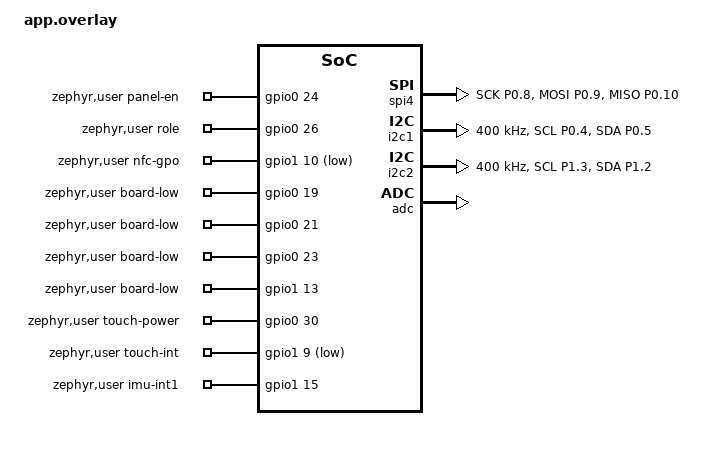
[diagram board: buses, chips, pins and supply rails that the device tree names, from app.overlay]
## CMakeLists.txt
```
cmake_minimum_required(VERSION 3.20.0)
find_package(Zephyr REQUIRED HINTS $ENV{ZEPHYR_BASE})
project(g1v0)
# The VM core (protocol 5) is compiled in place from the ScouterKit tree, never copied.
file(REAL_PATH ${CMAKE_CURRENT_SOURCE_DIR} G1_APP_DIR)
get_filename_component(G1_SK_DIR ${G1_APP_DIR}/../.. ABSOLUTE)
set(G1_VM_DIR ${G1_SK_DIR}/src/vm)
target_sources(app PRIVATE
	src/early.S src/retained.c src/health.c src/board.c src/netcore.c
	src/pmic.c src/power.c src/imu.c src/diag.c src/caselink.c src/panel.c src/exec.c src/proto.c src/netfallback.c src/netimg.S src/main.c
	src/mic.c src/touch.c src/touchcfg.S src/light.c src/peer.c src/idle.c src/guard.c src/assets.c src/bonds.c
	${G1_VM_DIR}/vm.c ${G1_VM_DIR}/vm_gfx.c)
target_include_directories(app PRIVATE ${G1_VM_DIR})
# DIAG BONDS reads the host's struct bt_keys (aging counter, key flags): its internal header, for this file only.
set_source_files_properties(src/bonds.c PROPERTIES INCLUDE_DIRECTORIES ${ZEPHYR_BASE}/subsys/bluetooth/host)
# The interpreter runs every host packet and program instruction: -O2 instead of the image's -Os.
set_source_files_properties(${G1_VM_DIR}/vm.c ${G1_VM_DIR}/vm_gfx.c PROPERTIES COMPILE_OPTIONS "-O2")
# liblc3 (Apache-2.0, vendored with its licence): the LC3 encoder of the microphone, 10 ms frames only.
set(G1_LC3_DIR ${G1_SK_DIR}/third_party/liblc3)
file(GLOB G1_LC3_SRC ${G1_LC3_DIR}/src/*.c)
target_sources(app PRIVATE ${G1_LC3_SRC})
target_include_directories(app PRIVATE ${G1_LC3_DIR}/include)
set_source_files_properties(${G1_LC3_SRC} PROPERTIES
	COMPILE_OPTIONS "-std=c11;-O3;-ffast-math;-Wno-unused-parameter;-Wno-double-promotion"
	COMPILE_DEFINITIONS "LC3_PLUS=0;LC3_PLUS_HR=0")
# The first instructions after reset go through early.S (WDT0 handling), then into Zephyr.
zephyr_ld_options(-Wl,--wrap=z_arm_reset)
# Even's net-core image embedded for the self-fallback (src/netimg.S, src/netfallback.c), fetched by
# scripts/fetch_stock.sh 1.6.6 into the work directory; never part of this tree.
set(G1_NET_IMAGE $ENV{G1_WORK}/firmware/1.6.6/net_core_app_update.bin CACHE FILEPATH "net image for the self-fallback")
if(NOT EXISTS ${G1_NET_IMAGE})
	message(FATAL_ERROR "${G1_NET_IMAGE} not found: run scripts/fetch_stock.sh 1.6.6")
endif()
set(G1_NET_IMAGE_NAME 1.6.6 CACHE STRING "version label of G1_NET_IMAGE")
set_source_files_properties(src/netimg.S PROPERTIES
	COMPILE_DEFINITIONS "G1_NET_IMAGE_PATH=\"${G1_NET_IMAGE}\"" OBJECT_DEPENDS ${G1_NET_IMAGE})
set_source_files_properties(src/netfallback.c PROPERTIES
	COMPILE_DEFINITIONS "G1_NET_IMAGE_NAME=\"${G1_NET_IMAGE_NAME}\"")
# The TouchBar controller's configuration table, as stock loads it (src/touchcfg.S, src/touch.c), taken from
# Even's 1.6.6 image by scripts/fetch_stock.sh 1.6.6 into the work directory; never part of this tree.
set(G1_TOUCH_TABLE $ENV{G1_WORK}/fw/1.6.6_aw9320x_table.bin CACHE FILEPATH "TouchBar controller table")
if(NOT EXISTS ${G1_TOUCH_TABLE})
	message(FATAL_ERROR "${G1_TOUCH_TABLE} not found: run scripts/fetch_stock.sh 1.6.6")
endif()
set_source_files_properties(src/touchcfg.S PROPERTIES
	COMPILE_DEFINITIONS "G1_TOUCH_TABLE_PATH=\"${G1_TOUCH_TABLE}\"" OBJECT_DEPENDS ${G1_TOUCH_TABLE})
```

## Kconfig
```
config G1_FAULT_INJECTION
	bool "Accept the FAULT control request (test builds only)"
	default y

config G1_WDT0_CRV
	int "nRF WDT0 reload value when this image starts it (32768 = 1 s)"
	default 3932160
	help
	  120 s. WDT0 keeps running through the soft reset into MCUboot and nothing may feed it during
	  an install (the genuine MCUboot's feeding is unverified), so it must outlast the whole install:
	  DK (D1) stock 976 KB 36.8 s; arm worst case ~44 s (240 pages x 89.7 ms erase, slower genuine
	  QSPI reads), ~56 s with a PCD net update in the same pass. The health thread feeds WDT0 every
	  0.5 s and reboots by itself on a thread hang (< 5 s), so only a total hang waits for WDT0;
	  with the nPM1300 watchdog armed (30 s, power cycle) that one comes first. A running WDT0
	  keeps its CRV until a watchdog, pin or power-on reset.

config G1_NET_ESB_QUIET
	bool "Tell the stock net core to quiesce its arm-to-arm ESB link (work mode 1, as stock's DFU mode)"
	default n
	help
	  Off since 0.5.0 (power.md §5, ESB mode): with work mode 1 on both arms the right arm (ESB master) missed most
	  BLE connection events under traffic (in the case, 0.4–1.4 KB/s and a link loss every 5–15 s, reason
	  0x28 Instant Passed), across power cycles; mode 0 on both arms gave 12–13 KB/s with no loss. Mode 0
	  as stock: both arms must run the same mode (an arm in mode 0 whose partner is quiet loses its links).

config G1_NET_FALLBACK_BOOTS
	int "Reflash the net core after this many consecutive boots without Bluetooth (M)"
	default 3

config G1_NET_FALLBACK_TIMEOUT_S
	int "A boot without Bluetooth after this many seconds reboots and counts as failed (N)"
	default 30

config G1_REQUIRE_SECURITY
	bool "Out of the case, require an encrypted, bonded link for every write (CMD, CTRL, SMP)"
	default y

config G1_PAIRING_WINDOW_S
	int "Seconds after boot during which a new bond may be created out of the case"
	default 0
	help
	  0 on the arm: bondable only in the case (VBUS), per the user's rule. The nRF5340 DK build
	  sets 120, since a bare DK has no PMIC and so is never "in the case".

config G1_CASE_LINK
	bool "Answer the charging case's requests over the ST25DV mailbox as stock (battery status: charging, full)"
	default y if !G1_NO_PANEL
	help
	  Without the reply the case never learns that the battery is full and keeps its NFC power transfer
	  on (power.md). Needs the ST25DV on TWIM1 and its GPO on P1.10 (the arm; the DK has neither).

config G1_IN_CASE_HOLD_S
	int "IN_CASE stays 1 this many seconds after the last VBUS sample, tag field or case message, unless the arm moved"
	default 400
	help
	  VM.md §2.5: a full case re-checks an arm about every 300 s. The emulator test build uses less.

config G1_PANEL_IDLE_S
	int "With no host connected and no running program, the panel goes off this many seconds after the last DRAW"
	default 30
	help
	  VM.md §6.6. The emulator test build uses a few seconds: its emulated net core stalls when the arm
	  advertises much longer (emulator.md §10.15).

config G1_PANEL_BUDGET_MA
	int "The panel guard's discharge budget, mA: above it the panel's level is capped"
	range 80 150
	default 100
	help
	  VM.md §6.6: while the panel is on and the arm runs on its battery, the mean IBAT (the whole arm's) above
	  this lowers BRIGHTNESS_CAP. 100 (1.25 C of the 80 mAh cell) since the acceptance run of 2026-11-04: at 120 the
	  right arm's pack rose 6.7 °C in 12 min of white (docs/review-dimming.md points 9 and 14, docs/power.md §17).

config G1_GUARD_BURST_MS
	int "While the panel is on, each PMIC round's 16 VBAT+IBAT conversions span at least this many ms"
	range 40 200
	default 40
	help
	  VM.md §6.6: the panel's current is pulsed; the burst covers at least two pulse periods (docs/power.md §17).

config G1_MIC_ANY_LINK
	bool "Emulator test build: MIC on an unencrypted link; never on an arm"
	default n
	help
	  VM.md §6.5: MIC needs an encrypted link, in the case too. The emulator's virtual central cannot
	  pair, so its test build sets this to exercise the capture, the indicator and the stop rules.

config G1_MIC_128MHZ
	bool "Run the app core at 128 MHz while the microphone captures"
	default n
	help
	  The LC3 encoder takes ~160k cycles per 10 ms frame: 25 % of the 64 MHz core, 12.5 % at 128 MHz.
	  Off as the codec review decided (docs/audio-codec.md: a cycle costs ~10 % more energy at 128 MHz, and
	  the encoder thread starves nothing at 64 MHz); test builds can switch it with DIAG SET 5.

config G1_IMU_BASE_DEFAULT
	int "Stock's IMU pitch base (centidegrees) for an arm whose settings record has none (0)"
	default -1987
	help
	  The head frame's tilt against the arm's board (imu.c). Stock's factory test stored it on the right
	  arm only (+0x0C of the settings record; -1987 on the development unit) and left the left arm's at 0,
	  stock's "no base": the glasses are rigid, so the left arm uses this value, until a worn calibration.

config G1_NO_PANEL
	bool "Board without a panel (the nRF5340 DK build); reported in HELLO and the pair record"
	default n

config G1_DK_NCS_NET
	bool "DK bench: the net core runs NCS's hci_rpmsg (no stock handshake, no ESB)"
	depends on G1_NO_PANEL
	default n

source "Kconfig.zephyr"
```

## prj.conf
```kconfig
# g1v0: scouter firmware for the G1 app core, protocol 5 (scouter_kit/g1_firmware/docs/VM.md).
CONFIG_BOOTLOADER_MCUBOOT=y
CONFIG_MCUBOOT_IMGTOOL_SIGN_VERSION="0.5.28+0"
CONFIG_UPDATEABLE_IMAGE_NUMBER=2
CONFIG_NRF53_UPGRADE_NETWORK_CORE=y
CONFIG_ADD_MCUBOOT_MEDIATE_SIM_FLASH_DTS=y

CONFIG_BT=y
CONFIG_BT_PERIPHERAL=y
CONFIG_BT_DEVICE_NAME="G1v0"
CONFIG_BT_DEVICE_NAME_DYNAMIC=y
CONFIG_BT_MAX_CONN=1
CONFIG_BT_USER_PHY_UPDATE=y
CONFIG_BT_USER_DATA_LEN_UPDATE=y
CONFIG_BT_GAP_AUTO_UPDATE_CONN_PARAMS=n
CONFIG_BT_L2CAP_TX_MTU=247
CONFIG_BT_BUF_ACL_RX_SIZE=251
CONFIG_BT_BUF_ACL_TX_SIZE=251
CONFIG_BT_BUF_ACL_RX_COUNT=16
CONFIG_BT_BUF_ACL_TX_COUNT=8
CONFIG_BT_L2CAP_TX_BUF_COUNT=8
CONFIG_BT_CONN_TX_MAX=8
CONFIG_BT_RX_STACK_SIZE=2048

CONFIG_NCS_SAMPLE_MCUMGR_BT_OTA_DFU=y
CONFIG_MCUMGR_GRP_OS_ECHO=y
CONFIG_MCUMGR_TRANSPORT_BT_CONN_PARAM_CONTROL=n
CONFIG_MCUMGR_MGMT_NOTIFICATION_HOOKS=y
CONFIG_MCUMGR_GRP_OS_RESET_HOOK=y
# The OTA sample turns on the zephyr-basic group with NVS settings: its only command erases the settings
# partition (every bond). Nothing uses it (flash.py, the asset store): off (0.5.58).
CONFIG_MCUMGR_GRP_ZBASIC=n

CONFIG_IPC_SERVICE=y
CONFIG_IPC_SERVICE_BACKEND_RPMSG_NUM_ENDPOINTS_PER_INSTANCE=2

# Hardware floating point: the LC3 encoder of the microphone (mic.c) and the IMU's angles.
CONFIG_FPU=y
CONFIG_FPU_SHARING=y

# Device power management only for the idle bisect's TWIM2 switch (idle.c, test builds); nothing suspends a device
# by itself (no CONFIG_PM).
CONFIG_PM_DEVICE=y
CONFIG_GPIO=y
CONFIG_I2C=y
CONFIG_ADC=y
# Panel SPIM4 is driven by panel.c directly (32 MHz, as stock), not by the Zephyr SPI driver.
CONFIG_SPI=n
CONFIG_FLASH=y
# The asset store's put verifies its read-back with SHA-256 (assets.c).
CONFIG_TINYCRYPT=y
CONFIG_TINYCRYPT_SHA256=y
CONFIG_CRC=y
CONFIG_REBOOT=y
CONFIG_ENTROPY_GENERATOR=y

CONFIG_LOG=y
CONFIG_LOG_MODE_DEFERRED=y
CONFIG_LOG_BUFFER_SIZE=4096
CONFIG_LOG_PROCESS_THREAD_SLEEP_MS=1000
CONFIG_PRINTK=y
# The console UART has no receiver (app.overlay disable-rx): Zephyr's UARTE driver then runs it in
# low-power mode, off between transmissions; an enabled receiver kept the HF clock running for good.
CONFIG_MAIN_STACK_SIZE=4096
CONFIG_SYSTEM_WORKQUEUE_STACK_SIZE=2048
CONFIG_RESET_ON_FATAL_ERROR=n
CONFIG_THREAD_NAME=y
# CPU load for the POWER telemetry (idle vs busy cycles)
CONFIG_THREAD_RUNTIME_STATS=y
CONFIG_SCHED_THREAD_USAGE=y
CONFIG_SCHED_THREAD_USAGE_ALL=y
CONFIG_MCUMGR_SMP_COMMAND_STATUS_HOOKS=y

# Security (docs/protocol.md §: bonding mirrors stock). LE Secure Connections, Just Works
# (NoInputNoOutput), bonds in the settings partition. The write gate is enforced in the handlers
# (in-case VBUS bypasses it), so the GATT permissions stay plain.
CONFIG_BT_SMP=y
CONFIG_BT_SMP_SC_PAIR_ONLY=y
CONFIG_BT_BONDABLE=y
# Pairing must create a bond (a pairing request without the bonding flag is rejected), so an
# encrypted link out of the case always means a bonded peer.
CONFIG_BT_BONDING_REQUIRED=y
CONFIG_BT_MAX_PAIRED=3
# A new bond (only possible in the case) replaces the oldest one when all 3 are used; otherwise no new
# host could ever bond (g1v0 has no unpair command).
CONFIG_BT_KEYS_OVERWRITE_OLDEST=y
# Store a bond's aging counter whenever another bond becomes the most recently used (each change of host),
# so "oldest" means least recently used across reboots too, not only within one boot (0.5.58).
CONFIG_BT_KEYS_SAVE_AGING_COUNTER_ON_PAIRING=y
# A host that lost its bond may pair again (in the case) over the arm's old Just Works bond for its
# address; Zephyr refuses that by default. Out of the case pairing is still refused (not bondable).
CONFIG_BT_SMP_ALLOW_UNAUTH_OVERWRITE=y
CONFIG_BT_SETTINGS=y
CONFIG_SETTINGS=y
CONFIG_NVS=y
CONFIG_FLASH_MAP=y
```

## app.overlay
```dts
/* G1 arm board on top of the nRF5340 DK board files (whose SoC, IPC, net-core release, DC/DC and LFXO
 * settings match what stock writes: emulator traces runs/aud-stock*, docs/arm-rollout.md §10).
 * Everything else the DK board defines is removed or disabled here, so g1v0 configures only pins the
 * stock firmware configures on the G1 (stock pin map: runs/aud-stock, g1-fw docs/g1-pin-map-dump.md):
 *   panel SPIM4: P0.08 SCK, P0.09 MOSI, P0.10 MISO, CS P0.11 by GPIO (panel.c drives SPIM4 itself,
 *     no Zephyr SPI driver); nPM1300 (0x6B) and ST25DV (0x53/0x57) on TWIM1: P0.04 SCL, P0.05 SDA;
 *   LSM6DSO (0x6B) on TWIM2: P1.03 SCL, P1.02 SDA;
 *   QSPI NOR (MX25U, 32 MiB): P0.13-P0.18; console UART0: TX P0.20, RX P0.22 (no RTS/CTS, as stock);
 *   GPIO: P0.24 panel -2 V enable, P0.26 role strap (input), P0.19/P0.21/P0.23 low and P0.30 high = the
 *     TouchBar controller's rail (stock button_init), P1.13 low (stock's idle PDM clock); P1.00/P1.01 to
 *     the net core (as stock);
 *   P0.00/P0.01 LFXO (SoC). */
/ {
	chosen {
		nordic,pm-ext-flash = &mx25r64;
	};
	zephyr,user {
		panel-en-gpios = <&gpio0 24 GPIO_ACTIVE_HIGH>;
		role-gpios = <&gpio0 26 GPIO_ACTIVE_HIGH>;
		/* ST25DV GPO (open drain, active low; stock: nfc_gpo_init pin 10, PIN_CNF input + pull-up) */
		nfc-gpo-gpios = <&gpio1 10 (GPIO_ACTIVE_LOW | GPIO_PULL_UP)>;
		board-low-gpios = <&gpio0 19 GPIO_ACTIVE_HIGH>, <&gpio0 21 GPIO_ACTIVE_HIGH>,
				  <&gpio0 23 GPIO_ACTIVE_HIGH>, <&gpio1 13 GPIO_ACTIVE_HIGH>;
		touch-power-gpios = <&gpio0 30 GPIO_ACTIVE_HIGH>;
		/* the TouchBar controller's interrupt (stock: P1.09, active low, pull-up) */
		touch-int-gpios = <&gpio1 9 (GPIO_ACTIVE_LOW | GPIO_PULL_UP)>;
		/* LSM6DSO INT1 (push-pull, active high as reset); INT2 is P1.04 (DIAG PIN_PROBE, 0.5.2) */
		imu-int1-gpios = <&gpio1 15 GPIO_ACTIVE_HIGH>;
	};
	aliases {
		/delete-property/ led0;
		/delete-property/ led1;
		/delete-property/ led2;
		/delete-property/ led3;
		/delete-property/ pwm-led0;
		/delete-property/ sw0;
		/delete-property/ sw1;
		/delete-property/ sw2;
		/delete-property/ sw3;
		/delete-property/ bootloader-led0;
		/delete-property/ mcuboot-button0;
		/delete-property/ mcuboot-led0;
	};
	/* DK LEDs (P0.28-P0.31; P0.28 is a board-ID strap on the G1), DK buttons (P0.23, P0.24, P0.08,
	 * P0.09: G1 enable rail, panel enable, panel SCK/MOSI), Arduino header and ADC connector. */
	/delete-node/ leds;
	/delete-node/ pwmleds;
	/delete-node/ buttons;
	/delete-node/ connector;
	/delete-node/ analog-connector;
};

&mx25r64 {
	jedec-id = [c2 25 39];
	size = <268435456>;
	/delete-property/ sfdp-bfp;
};

&pinctrl {
	/* stock UART0: PSEL.TXD P0.20, PSEL.RXD P0.22, RTS/CTS not connected (the DK adds P0.19/P0.21) */
	uart0_default: uart0_default {
		group1 {
			psels = <NRF_PSEL(UART_TX, 0, 20)>;
		};
		group2 {
			psels = <NRF_PSEL(UART_RX, 0, 22)>;
			bias-pull-up;
		};
	};
	uart0_sleep: uart0_sleep {
		group1 {
			psels = <NRF_PSEL(UART_TX, 0, 20)>,
				<NRF_PSEL(UART_RX, 0, 22)>;
			low-power-enable;
		};
	};
	/* panel pins; panel.c configures them as stock's nrfx does at 32 MHz (H0H1) */
	g1_spi4_default: g1_spi4_default {
		group1 {
			psels = <NRF_PSEL(SPIM_SCK, 0, 8)>,
				<NRF_PSEL(SPIM_MOSI, 0, 9)>,
				<NRF_PSEL(SPIM_MISO, 0, 10)>;
			nordic,drive-mode = <NRF_DRIVE_H0H1>;
		};
	};
	g1_i2c1_default: g1_i2c1_default {
		group1 {
			psels = <NRF_PSEL(TWIM_SCL, 0, 4)>,
				<NRF_PSEL(TWIM_SDA, 0, 5)>;
		};
	};
	g1_i2c1_sleep: g1_i2c1_sleep {
		group1 {
			psels = <NRF_PSEL(TWIM_SCL, 0, 4)>,
				<NRF_PSEL(TWIM_SDA, 0, 5)>;
			low-power-enable;
		};
	};
	/* stock's TWIM2: LSM6DSO (0x6B) and the touch controller (0x12); external pull-ups (stock PIN_CNF 0x600) */
	g1_i2c2_default: g1_i2c2_default {
		group1 {
			psels = <NRF_PSEL(TWIM_SCL, 1, 3)>,
				<NRF_PSEL(TWIM_SDA, 1, 2)>;
		};
	};
	g1_i2c2_sleep: g1_i2c2_sleep {
		group1 {
			psels = <NRF_PSEL(TWIM_SCL, 1, 3)>,
				<NRF_PSEL(TWIM_SDA, 1, 2)>;
			low-power-enable;
		};
	};
};

&spi4 {
	status = "okay";
	cs-gpios = <&gpio0 11 GPIO_ACTIVE_LOW>;
	pinctrl-0 = <&g1_spi4_default>;
	/delete-property/ pinctrl-1;
	pinctrl-names = "default";
};

&i2c1 {
	status = "okay";
	clock-frequency = <I2C_BITRATE_FAST>;
	pinctrl-0 = <&g1_i2c1_default>;
	pinctrl-1 = <&g1_i2c1_sleep>;
	pinctrl-names = "default", "sleep";
};

&i2c2 {
	status = "okay";
	clock-frequency = <I2C_BITRATE_FAST>;
	pinctrl-0 = <&g1_i2c2_default>;
	pinctrl-1 = <&g1_i2c2_sleep>;
	pinctrl-names = "default", "sleep";
};

/* DK-only peripherals (LED PWM, USB device, 802.15.4) and SoC blocks the G1 does not use
 * (NFCT: the case link is the ST25DV tag on I2C; USB regulator): none has a driver in g1v0. */
&pwm0 {
	status = "disabled";
};

/* SAADC: stock's VRECT measurement on AIN3 (P0.07) for the case link */
&adc {
	status = "okay";
};

&usbd {
	status = "disabled";
};

/* console TX only (stock's P0.20; nothing reads P0.22): with disable-rx the driver keeps UARTE0 off
 * between transmissions instead of a receiver that holds the HF clock (power.md) */
&uart0 {
	disable-rx;
};

&ieee802154 {
	status = "disabled";
};

&nfct {
	status = "disabled";
};

&usbreg {
	status = "disabled";
};

/* The nRF5340 DK board forwards P1.01, P1.00, P0.11 and P0.10 to the network core (its UART); Zephyr's
 * nRF53 start-up then sets MCUSEL = network for them. On the G1, P0.10/P0.11 are the panel's MISO and CS
 * (found on the left arm: panel ID 0000, MISO stuck low; DK PIN_CNF[10/11] = 0x10000002). Forward only
 * P1.01/P1.00, as stock does. */
&gpio_fwd {
	uart {
		gpios = <&gpio1 1 0>, <&gpio1 0 0>;
	};
};
```

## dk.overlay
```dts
/* nRF5340 DK rehearsal variant (applied after app.overlay): same code, harmless pins.
 * Panel SPI on the DK's Arduino SPI pins (P1.15 SCK, P1.13 MOSI, P1.14 MISO, CS P1.12), nothing attached;
 * the PMIC bus stays on P0.04/P0.05 (Arduino A0/A1, nothing attached -> PMIC reported absent);
 * no board GPIO baseline (P0.19/21 are the DK console's flow-control lines, P0.23/24 buttons, P0.30 a LED);
 * panel enable on P1.04 (Arduino D4); role strap P0.26 with pull-down (= right arm);
 * the DK's own MX25R64 flash (8 MiB, JEDEC c2 28 17). */
/ {
	zephyr,user {
		panel-en-gpios = <&gpio1 4 GPIO_ACTIVE_HIGH>;
		role-gpios = <&gpio0 26 (GPIO_ACTIVE_HIGH | GPIO_PULL_DOWN)>;
		/delete-property/ board-low-gpios;
		/delete-property/ touch-power-gpios;
		/delete-property/ touch-int-gpios;
		/delete-property/ imu-int1-gpios;
	};
};

&mx25r64 {
	jedec-id = [c2 28 17];
	size = <67108864>;
};

&pinctrl {
	g1_spi4_default: g1_spi4_default {
		group1 {
			psels = <NRF_PSEL(SPIM_SCK, 1, 15)>,
				<NRF_PSEL(SPIM_MOSI, 1, 13)>,
				<NRF_PSEL(SPIM_MISO, 1, 14)>;
		};
	};
};

&spi4 {
	cs-gpios = <&gpio1 12 GPIO_ACTIVE_LOW>;
};

/* no IMU on the DK (P1.02/P1.03 are its Arduino I2C pins, nothing attached) */
&i2c2 {
	status = "disabled";
};

&adc {
	status = "disabled";
};
```

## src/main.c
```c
/* g1v0 boot order (firmware-plan.md §6): retained-RAM accounting, watchdog feeding, then BLE + SMP
 * first; PMIC and panel run in their own threads so they can never hold up DFU. */
#include <stdio.h>
#include <string.h>
#include <zephyr/sys/byteorder.h>
#include <zephyr/kernel.h>
#include <zephyr/bluetooth/bluetooth.h>
#include <zephyr/bluetooth/conn.h>
#include <zephyr/bluetooth/uuid.h>
#include <zephyr/mgmt/mcumgr/mgmt/callbacks.h>
#include <zephyr/logging/log.h>
#include <zephyr/settings/settings.h>
#include <nrf.h>
#include "g1.h"
#include "netfallback.h"

LOG_MODULE_REGISTER(g1v0, LOG_LEVEL_INF);

void retained_log_boot_banner(void);

static const uint8_t svc_uuid[] = {BT_UUID_128_ENCODE(0xf3da4d59, 0x277a, 0x4fc9, 0xa1ed, 0x41c9c22d4400)};
static char name[16];

/* Without the settings subsystem Zephyr would pick a new random address at every boot. A static
 * random address derived from the chip's FICR device ID stays the same across boots and images. */
static void set_identity(void)
{
	bt_addr_le_t addr = {.type = BT_ADDR_LE_RANDOM};
	uint32_t id0 = NRF_FICR_S->INFO.DEVICEID[0];
	uint32_t id1 = NRF_FICR_S->INFO.DEVICEID[1];

	sys_put_le32(id0, &addr.a.val[0]);
	sys_put_le16((uint16_t)id1, &addr.a.val[4]);
	addr.a.val[5] |= 0xC0;
	if (bt_id_create(&addr, NULL) < 0) {
		LOG_WRN("could not set the FICR-based identity");
	}
}

static void adv_restart(struct k_work *work);
static K_WORK_DELAYABLE_DEFINE(adv_work, adv_restart);

/* Advertising (VM.md §6.6): 100-150 ms for 60 s after boot or a disconnection and whenever in the case
 * (IN_CASE), then 1 s (1000-1100 ms). The switch is a stop and a start with the same data. */
#define ADV_FAST_S 60
static const struct bt_le_adv_param adv_fast = BT_LE_ADV_PARAM_INIT(BT_LE_ADV_OPT_CONNECTABLE,
	BT_GAP_ADV_FAST_INT_MIN_2, BT_GAP_ADV_FAST_INT_MAX_2, NULL);
static const struct bt_le_adv_param adv_slow_param = BT_LE_ADV_PARAM_INIT(BT_LE_ADV_OPT_CONNECTABLE,
	0x0640, 0x06E0, NULL);
static volatile bool adv_on, adv_is_slow, adv_ready;
static int64_t fast_until;

/* The pair record (PROTOCOL.md §2.1): manufacturer data without a company ID (0xFFFF), format 1,
 * flags, then the frame serial, or the chip's device ID in hex on a board without one. Fixed for the
 * whole boot, so the advertising data is never updated while advertising. */
static size_t pair_record(uint8_t *b)
{
	size_t n = strlen(g1_settings.serial);

	b[0] = 0xFF;
	b[1] = 0xFF;
	b[2] = 1;
	b[3] = board_role() | (IS_ENABLED(CONFIG_G1_NO_PANEL) ? 2 : 0) | (n ? 4 : 0);
	if (n) {
		memcpy(&b[4], g1_settings.serial, n);
	} else {
		n = snprintf((char *)&b[4], 17, "%08X%08X", NRF_FICR_S->INFO.DEVICEID[1], NRF_FICR_S->INFO.DEVICEID[0]);
	}
	return 4 + n;
}

static void adv_restart(struct k_work *work)
{
	uint8_t rec[4 + 17];
	const struct bt_data ad[] = {
		BT_DATA_BYTES(BT_DATA_FLAGS, (BT_LE_AD_GENERAL | BT_LE_AD_NO_BREDR)),
		BT_DATA(BT_DATA_UUID128_ALL, svc_uuid, sizeof(svc_uuid)),
		BT_DATA(BT_DATA_NAME_COMPLETE, name, strlen(name)),
	};
	const struct bt_data sd[] = {
		BT_DATA(BT_DATA_MANUFACTURER_DATA, rec, pair_record(rec)),
	};
	int err;

	bool slow = !g1_in_case() && k_uptime_get() >= fast_until;

	if (proto_connected()) {
		adv_on = false;
		return;
	}
	if (adv_on && slow == adv_is_slow) {
		return;
	}
	if (adv_on) {
		bt_le_adv_stop();
		adv_on = false;
	}
	err = bt_le_adv_start(slow ? &adv_slow_param : &adv_fast, ad, ARRAY_SIZE(ad), sd, ARRAY_SIZE(sd));
	if (err && err != -EALREADY) {
		LOG_ERR("advertising failed: %d, retrying", err);
		k_work_schedule(&adv_work, K_SECONDS(1));
		return;
	}
	adv_on = true;
	adv_is_slow = slow;
	if (!slow && !g1_in_case()) {
		k_work_schedule(&adv_work, K_TIMEOUT_ABS_MS(fast_until));
	}
}

bool adv_slow(void)
{
	return adv_on && adv_is_slow;
}

/* after a disconnection: fast again for 60 s */
void adv_kick(void)
{
	adv_on = false;
	fast_until = k_uptime_get() + ADV_FAST_S * 1000;
	k_work_schedule(&adv_work, K_MSEC(200));
}

/* IN_CASE changed: in the case fast, out of it the 60 s rule */
void adv_vbus_changed(void)
{
	if (!adv_ready) {
		return;   /* before bt_enable: main starts advertising */
	}
	if (!g1_in_case() && fast_until < k_uptime_get() + 1000) {
		fast_until = k_uptime_get();
	}
	k_work_schedule(&adv_work, K_NO_WAIT);
}

static enum mgmt_cb_return smp_reset_hook(uint32_t event, enum mgmt_cb_return prev_status, int32_t *rc,
					  uint16_t *group, bool *abort_more, void *data, size_t data_size)
{
	retained_mark_clean(CLEAN_SMP, true, false);
	LOG_INF("SMP reset requested");
	g1_prepare_reboot();
	return MGMT_CB_OK;
}

static struct mgmt_callback smp_reset_cb = {
	.callback = smp_reset_hook,
	.event_id = MGMT_EVT_OP_OS_MGMT_RESET,
};

static enum mgmt_cb_return smp_rx_hook(uint32_t event, enum mgmt_cb_return prev_status, int32_t *rc,
				       uint16_t *group, bool *abort_more, void *data, size_t data_size)
{
	if (!proto_writes_allowed()) {
		*rc = MGMT_ERR_EACCESSDENIED;
		*abort_more = true;
		return MGMT_CB_ERROR_RC;
	}
	health_bt_traffic();
	return MGMT_CB_OK;
}

static struct mgmt_callback smp_rx_cb = {
	.callback = smp_rx_hook,
	.event_id = MGMT_EVT_OP_CMD_RECV,
};

int main(void)
{
	int err;
	bool ble_up;

	retained_boot();
	retained_log_boot_banner();
	health_start();
	LOG_INF("g1v0 %s booting: safe level %u, unhealthy boots %u, boot %u, RESETREAS 0x%08x",
		CONFIG_MCUBOOT_IMGTOOL_SIGN_VERSION, safe_level(), retained_unhealthy(), retained_boot_count(),
		retained_resetreas());
	mgmt_callback_register(&smp_reset_cb);
	mgmt_callback_register(&smp_rx_cb);
	board_init();
	snprintf(name, sizeof(name), "G1v0%s_%c", safe_level() ? "S" : "", board_role() ? 'L' : 'R');
	if (safe_level() < 2) {
		pmic_start();
	}
	caselink_start();
	touch_start();
	proto_init();
	exec_start();
	diag_netoff_boot();
	set_identity();
	if (netfallback_boot()) {
		g1_reboot(CLEAN_HOST, false, false);
	}
	/* The net core must give us HCI. If the handshake does not complete we must NOT call bt_enable:
	 * with a dead net core its first HCI command would time out and Zephyr's BT_ASSERT would reset
	 * the arm (the same 10 s timeout as the SMP-upload risk). A failed handshake instead goes to the
	 * net-core fallback (netfallback.c). */
	err = IS_ENABLED(CONFIG_G1_DK_NCS_NET) ? 0 :
	      g1_netcore_handshake(board_role() ? 2 : 1, g1_settings.esb_channel, g1_settings.esb_master,
				   g1_settings.esb_slave);
	ble_up = false;
	if (err) {
		LOG_ERR("net core handshake failed: %d; not enabling Bluetooth this boot", err);
	} else {
		for (int i = 0; i < 5; i++) {
			k_sleep(K_MSEC(i == 0 ? 100 : 800));
			err = bt_enable(NULL);
			if (!err || err == -EALREADY) {
				ble_up = true;
				break;
			}
			LOG_WRN("bt_enable: %d, retrying", err);
		}
	}
	if (ble_up) {
		if (IS_ENABLED(CONFIG_BT_SETTINGS)) {
			settings_load();
		}
		proto_update_bondable();
		health_set_ble_up();
		netfallback_ble_up();
	}
	if (!ble_up) {
		LOG_ERR("no Bluetooth this boot (%u consecutive)", retained_net_fails());
		if (!retained_net_fallback_done()) {
			k_sleep(K_SECONDS(2));
			g1_reboot(CLEAN_HOST, false, false);
		}
		LOG_WRN("net fallback already used; staying up without BLE (panel/charging/health) for recovery");
		return 0;
	}
	bt_set_name(name);
	fast_until = k_uptime_get() + ADV_FAST_S * 1000;
	adv_ready = true;
	k_work_schedule(&adv_work, K_NO_WAIT);
	LOG_INF("advertising as %s, SMP ready", name);
	if (safe_level() == 1 && pmic_wait_ready(K_SECONDS(5))) {
		pmic_panel_rails(false);
		LOG_WRN("safe mode: panel rails off, drawing disabled");
	}
	return 0;
}
```

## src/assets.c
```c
/* The asset store (VM.md §6.10, docs/design-flash-assets.md): host-named blobs in the g1_assets partition of the
 * QSPI flash. Only the store thread erases and programs, one bounded flash call at a time; the control thread
 * answers from the RAM directory; the executor's ASSET_LOAD only reads. Every access is a 24-bit driver call
 * inside the partition: the store sends no instruction of its own and leaves the chip's state as it is. */
#include <string.h>
#include <zephyr/kernel.h>
#include <zephyr/logging/log.h>
#include <zephyr/logging/log_ctrl.h>
#include <zephyr/drivers/flash.h>
#include <zephyr/storage/flash_map.h>
#include <zephyr/sys/crc.h>
#include <zephyr/sys/reboot.h>
#include <tinycrypt/sha256.h>
#include <tinycrypt/constants.h>
#include <pm_config.h>
#include <nrfx.h>
#include "g1.h"
#include "vm.h"

LOG_MODULE_REGISTER(assets, LOG_LEVEL_INF);

#define SECTOR 4096u
#define MAX_ASSETS 120
#define HEAD 32u
#define DATA0 (2 * SECTOR)
#define AREA PM_G1_ASSETS_SIZE
#define DIR_MAGIC 0x53414B53u   /* "SKAS" */
#define FORMAT_MAGIC 0x534B4153u
#define WIPE_MAGIC 0x5057u
#define SPACE_24 0x1000000u
#define CHIP_BYTES (DT_PROP(DT_NODELABEL(mx25r64), size) / 8)
#define READ_CHUNK 0x8000u

BUILD_ASSERT(PM_G1_ASSETS_ADDRESS == 0x140000, "the store starts above the factory record");
BUILD_ASSERT(PM_G1_ASSETS_ADDRESS + PM_G1_ASSETS_SIZE <= SPACE_24, "the store lies in the 24-bit space");
BUILD_ASSERT(PM_G1_ASSETS_SIZE % 0x10000 == 0, "whole 64 KiB blocks");
BUILD_ASSERT(!DT_PROP(DT_NODELABEL(mx25r64), address_size_32), "24-bit addressing only");
BUILD_ASSERT(HEAD + MAX_ASSETS * 32 + 4 <= SECTOR, "a directory copy fits its sector");

/* a directory entry as on flash (little-endian) */
struct entry {
	uint8_t id[16];
	uint32_t off, size, crc;
	uint8_t type, flags;
	uint16_t rsv;
};
BUILD_ASSERT(sizeof(struct entry) == 32);

enum { J_PUT = 1, J_DELETE = 2, J_FORMAT = 3, J_CRC = 4 };
enum { S_IDLE, S_ERASING, S_WRITING, S_VERIFYING, S_DONE, S_FAILED };
enum { CP_ERASED = 1, CP_MID_PROGRAM = 2, CP_VERIFIED = 3, CP_MID_DIRECTORY = 4 };

static const struct flash_area *fa;
static const struct device *const chip = DEVICE_DT_GET(DT_NODELABEL(mx25r64));
static bool avail;
static struct entry dir[MAX_ASSETS];
static uint8_t checked[MAX_ASSETS];   /* the first load's crc: 0 not yet, 1 good, 2 bad */
static uint16_t count;
static uint32_t seq;
static int copy = -1;                 /* the directory sector in force, -1 none */
static K_MUTEX_DEFINE(dir_lock);      /* the RAM directory */
static K_MUTEX_DEFINE(io_lock);       /* one flash call of a job; a whole ASSET_LOAD */
static uint8_t buf[SECTOR] __aligned(4);
static struct tc_sha256_state_struct sha;

static K_SEM_DEFINE(job_sem, 0, 1);
static atomic_t running, crc_pending, step_mode, paused, step_go, step_abort, reset_at;
static struct {
	uint8_t kind, type;
	bool wipe;
	uint8_t id[16];
	uint32_t addr, size, off;
} job;
static struct {
	uint32_t addr, n;
} crc_req;
static volatile uint8_t job_state, last_error;
static struct {
	uint32_t erase_us, program_us, verify_us, dir_us, longest_erase_us;
	uint32_t erased, commits, loads, load_bytes, check_us, steps, wiped;
} st;

static int find(const uint8_t *id)
{
	for (int i = 0; i < count; i++) {
		if (memcmp(dir[i].id, id, 16) == 0) {
			return i;
		}
	}
	return -1;
}

static uint32_t extent_end(const struct entry *e)
{
	return e->off + ROUND_UP(e->size, SECTOR);
}

/* a directory copy: magic, format 1, count, this build's partition size, extents in the data area and disjoint,
 * crc */
static bool valid(const uint8_t *b, uint16_t *n, uint32_t *s)
{
	const struct entry *e = (const struct entry *)(b + HEAD);
	uint16_t c = get16(b + 6);

	if (get32(b) != DIR_MAGIC || get16(b + 4) != 1 || c > MAX_ASSETS || get32(b + 12) != AREA ||
	    crc32_ieee(b, HEAD + 32u * c) != get32(b + HEAD + 32u * c)) {
		return false;
	}
	for (int i = 0; i < c; i++) {
		if (e[i].off % SECTOR || e[i].off < DATA0 || e[i].off >= AREA || e[i].size == 0 ||
		    e[i].size > ARENA_SIZE || extent_end(&e[i]) > AREA) {
			return false;
		}
		for (int j = 0; j < i; j++) {
			if (e[i].off < extent_end(&e[j]) && e[j].off < extent_end(&e[i])) {
				return false;
			}
		}
	}
	*n = c;
	*s = get32(b + 8);
	return true;
}

/* the RAM directory from a verified copy; entries kept keep their first-load check, a new one is good */
static void install(const uint8_t *b, uint16_t n, uint32_t s, const uint8_t *fresh)
{
	const struct entry *e = (const struct entry *)(b + HEAD);
	uint8_t c[MAX_ASSETS];

	k_mutex_lock(&dir_lock, K_FOREVER);
	for (int i = 0; i < n; i++) {
		int k = find(e[i].id);

		c[i] = fresh && memcmp(e[i].id, fresh, 16) == 0 ? 1 : k >= 0 ? checked[k] : 0;
	}
	memcpy(dir, e, 32u * n);
	memcpy(checked, c, n);
	count = n;
	seq = s;
	k_mutex_unlock(&dir_lock);
}

static int64_t alloc(uint32_t size)
{
	uint32_t need = ROUND_UP(size, SECTOR), at = DATA0;
	bool moved = true;

	while (moved) {
		moved = false;
		for (int i = 0; i < count; i++) {
			if (at < extent_end(&dir[i]) && dir[i].off < at + need) {
				at = extent_end(&dir[i]);
				moved = true;
			}
		}
	}
	return at + need <= AREA ? (int64_t)at : -1;
}

/* free bytes and the largest free extent of the data area (dir_lock held) */
static void space(uint32_t *free, uint32_t *largest, uint32_t *data)
{
	uint32_t at = DATA0, used = 0, big = 0, bytes = 0;

	for (;;) {
		int next = -1;

		for (int i = 0; i < count; i++) {
			if (dir[i].off >= at && (next < 0 || dir[i].off < dir[next].off)) {
				next = i;
			}
		}
		uint32_t end = next < 0 ? AREA : dir[next].off;

		big = MAX(big, end - at);
		if (next < 0) {
			break;
		}
		used += extent_end(&dir[next]) - dir[next].off;
		bytes += dir[next].size;
		at = extent_end(&dir[next]);
	}
	*free = AREA - DATA0 - used;
	*largest = big;
	*data = bytes;
}

/* ---------------------------------------------------------------- the store thread */

static void crc_job(void);

static int64_t us_now(void)
{
	return k_ticks_to_us_floor64(k_uptime_ticks());
}

/* DIAG SET 10: after every flash call that changes flash, wait for the host's step (a FLASH_CRC runs meanwhile);
 * false: the host aborted the job */
static bool step_point(void)
{
	st.steps++;
	if (!atomic_get(&step_mode)) {
		return true;
	}
	atomic_set(&paused, 1);
	for (;;) {
		k_sem_take(&job_sem, K_FOREVER);
		if (atomic_get(&crc_pending)) {
			crc_job();
		}
		if (atomic_cas(&step_abort, 1, 0)) {
			atomic_set(&paused, 0);
			return false;
		}
		if (atomic_cas(&step_go, 1, 0) || !atomic_get(&step_mode)) {
			break;
		}
	}
	atomic_set(&paused, 0);
	return true;
}

/* DIAG SET 9: a reset at checkpoint k of the next put, as a power failure would (test builds); not counted as an
 * unhealthy boot, since a power failure clears the retained counter too */
static void power_fail(const char *where)
{
	LOG_WRN("asset store: reset %s", where);
	LOG_PANIC();
	retained_mark_clean(CLEAN_HOST, false, false);
	sys_reboot(SYS_REBOOT_COLD);
}

static void checkpoint(int k)
{
	if (atomic_cas(&reset_at, k, 0)) {
		power_fail(k == CP_ERASED ? "after the erase" : k == CP_MID_PROGRAM ? "in the program"
							   : "after the verification");
	}
}

static int erase(uint32_t off)
{
	int64_t t;
	uint32_t us;
	int err;

	k_mutex_lock(&io_lock, K_FOREVER);
	t = us_now();
	err = flash_area_erase(fa, off, SECTOR);
	us = (uint32_t)(us_now() - t);
	k_mutex_unlock(&io_lock);
	st.erased++;
	st.longest_erase_us = MAX(st.longest_erase_us, us);
	return err;
}

/* the next directory copy (seq + 1, the other sector) with `add` and without `del`: erase, program, read back */
static int commit(const struct entry *add, const uint8_t *del)
{
	int target = copy == 0 ? 1 : 0, err;
	uint32_t next = seq + 1, len;
	uint16_t n = 0;
	uint32_t s;

	if (erase(target * SECTOR) || !step_point()) {
		return E_ASSET;
	}
	k_mutex_lock(&io_lock, K_FOREVER);
	k_mutex_lock(&dir_lock, K_FOREVER);
	memset(buf, 0xFF, SECTOR);
	memset(buf, 0, HEAD);
	put32(buf, DIR_MAGIC);
	put16(buf + 4, 1);
	put32(buf + 8, next);
	put32(buf + 12, AREA);
	for (int i = 0; i < count; i++) {
		if (!del || memcmp(dir[i].id, del, 16) != 0) {
			memcpy(buf + HEAD + 32u * n++, &dir[i], 32);
		}
	}
	k_mutex_unlock(&dir_lock);
	if (add) {
		memcpy(buf + HEAD + 32u * n++, add, 32);
	}
	put16(buf + 6, n);
	len = HEAD + 32u * n;
	put32(buf + len, crc32_ieee(buf, len));
	if (atomic_cas(&reset_at, CP_MID_DIRECTORY, 0)) {
		flash_area_write(fa, target * SECTOR, buf, HEAD);
		power_fail("in the directory write");
	}
	err = flash_area_write(fa, target * SECTOR, buf, SECTOR);
	k_mutex_unlock(&io_lock);
	if (err || !step_point()) {
		return E_ASSET;
	}
	k_mutex_lock(&io_lock, K_FOREVER);
	err = flash_area_read(fa, target * SECTOR, buf, SECTOR);
	if (!err && valid(buf, &n, &s) && s == next) {
		install(buf, n, s, add ? add->id : NULL);
		copy = target;
		st.commits++;
	} else {
		err = -EIO;
	}
	k_mutex_unlock(&io_lock);
	return err ? E_ASSET : 0;
}

static int put(void)
{
	uint32_t sectors = DIV_ROUND_UP(job.size, SECTOR), crc = 0;
	uint8_t digest[TC_SHA256_DIGEST_SIZE];
	struct entry e = {.off = job.off, .size = job.size, .type = job.type};
	int64_t t = us_now();

	for (uint32_t i = 0; i < sectors; i++) {
		if (erase(job.off + i * SECTOR) || !step_point()) {
			return E_ASSET;
		}
	}
	st.erase_us = (uint32_t)(us_now() - t);
	checkpoint(CP_ERASED);
	job_state = S_WRITING;
	t = us_now();
	for (uint32_t i = 0; i < sectors; i++) {
		uint32_t m = MIN(SECTOR, job.size - i * SECTOR);
		int err;

		k_mutex_lock(&io_lock, K_FOREVER);
		exec_arena_copy(job.addr + i * SECTOR, buf, m);
		memset(buf + m, 0xFF, SECTOR - m);
		err = flash_area_write(fa, job.off + i * SECTOR, buf, SECTOR);
		k_mutex_unlock(&io_lock);
		if (err || !step_point()) {
			return E_ASSET;
		}
		if (i == sectors / 2) {
			checkpoint(CP_MID_PROGRAM);
		}
	}
	st.program_us = (uint32_t)(us_now() - t);
	job_state = S_VERIFYING;
	t = us_now();
	tc_sha256_init(&sha);
	for (uint32_t i = 0; i < sectors; i++) {
		uint32_t m = MIN(SECTOR, job.size - i * SECTOR);
		int err;

		k_mutex_lock(&io_lock, K_FOREVER);
		err = flash_area_read(fa, job.off + i * SECTOR, buf, SECTOR);
		tc_sha256_update(&sha, buf, m);
		crc = crc32_ieee_update(crc, buf, m);
		k_mutex_unlock(&io_lock);
		if (err) {
			return E_ASSET;
		}
	}
	tc_sha256_final(digest, &sha);
	st.verify_us = (uint32_t)(us_now() - t);
	if (memcmp(digest, job.id, 16) != 0) {
		LOG_WRN("asset store: put failed, the body read back is not the ID's");
		return E_ASSET;
	}
	checkpoint(CP_VERIFIED);
	memcpy(e.id, job.id, 16);
	e.crc = crc;
	t = us_now();
	if (commit(&e, NULL)) {
		return E_ASSET;
	}
	st.dir_us = (uint32_t)(us_now() - t);
	return 0;
}

static int format(void)
{
	for (int i = 0; i < 2; i++) {
		if (erase(i * SECTOR) || !step_point()) {
			return E_ASSET;
		}
	}
	k_mutex_lock(&dir_lock, K_FOREVER);
	count = 0;
	seq = 0;
	k_mutex_unlock(&dir_lock);
	copy = -1;
	st.commits++;
	if (!job.wipe) {
		return 0;
	}
	st.wiped = 0;
	for (uint32_t off = DATA0; off < AREA; off += SECTOR) {
		bool erased = true;
		int err;

		k_mutex_lock(&io_lock, K_FOREVER);
		err = flash_area_read(fa, off, buf, SECTOR);
		for (uint32_t i = 0; i < SECTOR / 4 && erased; i++) {
			erased = ((const uint32_t *)buf)[i] == 0xFFFFFFFFu;
		}
		k_mutex_unlock(&io_lock);
		if (err) {
			return E_ASSET;
		}
		if (!erased) {
			if (erase(off) || !step_point()) {
				return E_ASSET;
			}
			st.wiped++;
		}
	}
	return 0;
}

static void notice(uint8_t kind, uint8_t result, const uint8_t *body16)
{
	uint8_t b[18];

	b[0] = kind;
	b[1] = result;
	memcpy(b + 2, body16, 16);
	proto_notice(N_ASSET, b, sizeof(b));
}

/* FLASH_CRC: crc32 and the bytes that are not 0xFF of a range of the 24-bit space, read only */
static void crc_job(void)
{
	uint32_t crc = 0, set = 0, a = crc_req.addr, end = crc_req.addr + crc_req.n;
	uint8_t b[16];
	int err = 0;

	while (a < end && !err) {
		uint32_t m = MIN(SECTOR, end - a);

		k_mutex_lock(&io_lock, K_FOREVER);
		err = flash_read(chip, a, buf, m);
		crc = crc32_ieee_update(crc, buf, m);
		for (uint32_t i = 0; i < m; i++) {
			set += buf[i] != 0xFF;
		}
		k_mutex_unlock(&io_lock);
		a += m;
	}
	put32(b, crc_req.addr);
	put32(b + 4, crc_req.n);
	put32(b + 8, crc);
	put32(b + 12, set);
	atomic_set(&crc_pending, 0);
	if (!atomic_get(&running)) {
		job_state = err ? S_FAILED : S_DONE;
		last_error = err ? E_ASSET : 0;
	}
	notice(J_CRC, err ? E_ASSET : 0, b);
}

static void run_job(void)
{
	static const uint8_t zero[16];
	int err;

	st.steps = 0;
	if (job.kind == J_PUT) {
		err = put();
	} else if (job.kind == J_DELETE) {
		int64_t t = us_now();

		err = commit(NULL, job.id);
		st.dir_us = (uint32_t)(us_now() - t);
	} else {
		err = format();
	}
	LOG_INF("asset store: job %u %s, %u assets, seq %u", job.kind, err ? "failed" : "done", count, seq);
	last_error = err;
	job_state = err ? S_FAILED : S_DONE;
	notice(job.kind, err, job.kind == J_FORMAT ? zero : job.id);
	job.kind = 0;
	atomic_set(&running, 0);
}

/* both directory copies at boot: the valid one with the higher seq, else an empty store */
static void load(void)
{
	uint16_t n;
	uint32_t s;

	for (int c = 0; c < 2; c++) {
		k_mutex_lock(&io_lock, K_FOREVER);
		if (flash_area_read(fa, c * SECTOR, buf, SECTOR) == 0 && valid(buf, &n, &s) && (copy < 0 || s > seq)) {
			install(buf, n, s, NULL);
			copy = c;
		}
		k_mutex_unlock(&io_lock);
	}
}

static void assets_thread(void *p1, void *p2, void *p3)
{
	bool addr24 = (NRF_QSPI->IFCONFIG0 & QSPI_IFCONFIG0_ADDRMODE_Msk) ==
		      (QSPI_IFCONFIG0_ADDRMODE_24BIT << QSPI_IFCONFIG0_ADDRMODE_Pos);

	if (!addr24 || !device_is_ready(chip) || flash_area_open(PM_G1_ASSETS_ID, &fa) != 0) {
		LOG_ERR("asset store unavailable: QSPI %s, flash %s", addr24 ? "24-bit" : "not 24-bit",
			device_is_ready(chip) ? "ready" : "not ready");
		avail = false;
	} else {
		load();
		avail = true;
		LOG_INF("asset store: %u assets, seq %u, copy %d", count, seq, copy);
	}
	for (;;) {
		k_sem_take(&job_sem, K_FOREVER);
		if (atomic_get(&crc_pending)) {
			crc_job();
		}
		if (job.kind) {
			run_job();
		}
	}
}

K_THREAD_DEFINE(assets_tid, 2048, assets_thread, NULL, NULL, NULL, 11, 0, 0);

/* ---------------------------------------------------------------- control requests (the evt thread) */

void assets_info(uint8_t *out)
{
	uint32_t free = 0, largest = 0, data = 0;

	k_mutex_lock(&dir_lock, K_FOREVER);
	if (avail) {
		space(&free, &largest, &data);
	}
	put32(out, data);
	put32(out + 4, free);
	put32(out + 8, largest);
	out[12] = count;
	out[13] = job_state;
	out[14] = last_error;
	out[15] = avail ? 1 : 0;
	put32(out + 16, seq);
	k_mutex_unlock(&dir_lock);
}

size_t assets_list(uint8_t first, uint8_t *out, size_t room)
{
	size_t n = 2;

	k_mutex_lock(&dir_lock, K_FOREVER);
	out[0] = count;
	out[1] = first;
	for (int i = first; i < count && n + 32 <= room && i < first + 7; i++) {
		memcpy(out + n, &dir[i], 32);
		n += 32;
	}
	k_mutex_unlock(&dir_lock);
	return n;
}

static int start(uint8_t kind, uint8_t state)
{
	if (!atomic_cas(&running, 0, 1)) {
		return E_ASSET;
	}
	job.kind = kind;
	job_state = state;
	k_sem_give(&job_sem);
	return 0;
}

int assets_put(const uint8_t *id, uint32_t addr, uint32_t size, uint8_t type, uint8_t *result)
{
	int64_t off;
	int k;

	if (safe_level()) {
		return E_SAFE_MODE;
	}
	if (size == 0 || size > ARENA_SIZE) {
		return E_ARG;
	}
	if ((uint64_t)addr + size > ARENA_SIZE) {
		return E_ARENA;
	}
	if (!avail) {
		return E_ASSET;
	}
	k_mutex_lock(&dir_lock, K_FOREVER);
	k = find(id);
	if (k >= 0) {
		uint32_t stored = dir[k].size;

		k_mutex_unlock(&dir_lock);
		*result = 1;
		return stored == size ? 0 : E_ARG;
	}
	off = count < MAX_ASSETS && !atomic_get(&running) ? alloc(size) : -1;
	k_mutex_unlock(&dir_lock);
	if (off < 0 || atomic_get(&running)) {
		return E_ASSET;
	}
	memcpy(job.id, id, 16);
	job.addr = addr;
	job.size = size;
	job.type = type;
	job.off = (uint32_t)off;
	*result = 0;
	return start(J_PUT, S_ERASING);
}

int assets_delete(const uint8_t *id)
{
	int k;

	if (safe_level()) {
		return E_SAFE_MODE;
	}
	if (!avail || atomic_get(&running)) {
		return E_ASSET;
	}
	k_mutex_lock(&dir_lock, K_FOREVER);
	k = find(id);
	k_mutex_unlock(&dir_lock);
	if (k < 0) {
		return E_ASSET;
	}
	memcpy(job.id, id, 16);
	return start(J_DELETE, S_VERIFYING);
}

int assets_format(const uint8_t *a, size_t alen)
{
	if (safe_level()) {
		return E_SAFE_MODE;
	}
	if (alen < 4 || get32(a) != FORMAT_MAGIC) {
		return E_ARG;
	}
	if (!avail || atomic_get(&running)) {
		return E_ASSET;
	}
	job.wipe = alen >= 8 && get32(a + 4) >> 16 == WIPE_MAGIC;
	return start(J_FORMAT, S_ERASING);
}

int assets_crc(uint32_t addr, uint32_t n)
{
	if (safe_level()) {
		return E_SAFE_MODE;
	}
	if (n == 0 || (uint64_t)addr + n > MIN(SPACE_24, CHIP_BYTES)) {
		return E_ARG;
	}
	if (!device_is_ready(chip) || atomic_get(&crc_pending) || (atomic_get(&running) && !atomic_get(&paused))) {
		return E_ASSET;
	}
	crc_req.addr = addr;
	crc_req.n = n;
	atomic_set(&crc_pending, 1);
	if (!atomic_get(&running)) {
		job_state = S_VERIFYING;
	}
	k_sem_give(&job_sem);
	return 0;
}

/* ---------------------------------------------------------------- ASSET_LOAD (the executor) */

int assets_read(const uint8_t *id, uint32_t off, uint8_t *dst, uint32_t n)
{
	struct entry e = {0};
	uint32_t gen = 0;
	int k, check = 0, err = 0;

	if (!avail) {
		return VM_E_ASSET;
	}
	k_mutex_lock(&io_lock, K_FOREVER);
	k_mutex_lock(&dir_lock, K_FOREVER);
	k = find(id);
	if (k >= 0) {
		e = dir[k];
		check = checked[k];
		gen = seq;
	}
	k_mutex_unlock(&dir_lock);
	if (k < 0 || ((uint64_t)off + n <= e.size && check == 2)) {
		k_mutex_unlock(&io_lock);
		return VM_E_ASSET;
	}
	if ((uint64_t)off + n > e.size) {
		k_mutex_unlock(&io_lock);
		return VM_E_ARENA;
	}
	if (check == 0) {
		int64_t t = us_now();
		uint32_t crc = 0;

		for (uint32_t a = 0; a < e.size && !err; a += SECTOR) {
			uint32_t m = MIN(SECTOR, e.size - a);

			err = flash_area_read(fa, e.off + a, buf, m);
			crc = crc32_ieee_update(crc, buf, m);
		}
		check = !err && crc == e.crc ? 1 : 2;
		st.check_us = (uint32_t)(us_now() - t);
		k_mutex_lock(&dir_lock, K_FOREVER);
		if (seq == gen && memcmp(dir[k].id, id, 16) == 0) {
			checked[k] = check;
		}
		k_mutex_unlock(&dir_lock);
		if (check == 2) {
			LOG_WRN("asset store: an asset fails its crc, refused until deleted");
			k_mutex_unlock(&io_lock);
			return VM_E_ASSET;
		}
	}
	for (uint32_t done = 0; done < n && !err; done += READ_CHUNK) {
		err = flash_area_read(fa, e.off + off + done, dst + done, MIN(READ_CHUNK, n - done));
	}
	k_mutex_unlock(&io_lock);
	st.loads++;
	st.load_bytes += n;
	return err ? VM_E_ASSET : 0;
}

/* ---------------------------------------------------------------- diagnostics (test builds) */

void assets_set(uint8_t item, uint8_t value)
{
	if (item == 9) {
		atomic_set(&reset_at, value);
	} else if (value == 2) {
		atomic_set(&step_go, 1);
	} else if (value == 3) {
		atomic_set(&step_abort, 1);
	} else {
		atomic_set(&step_mode, value);
	}
	k_sem_give(&job_sem);
}

size_t assets_diag(uint8_t *out)
{
	size_t unused = SIZE_MAX;

#if defined(CONFIG_INIT_STACKS)
	k_thread_stack_space_get(assets_tid, &unused);
#endif
	put32(out, st.erase_us);
	put32(out + 4, st.program_us);
	put32(out + 8, st.verify_us);
	put32(out + 12, st.dir_us);
	put32(out + 16, st.longest_erase_us);
	put32(out + 20, st.erased);
	put32(out + 24, st.commits);
	put32(out + 28, st.loads);
	put32(out + 32, st.load_bytes);
	put32(out + 36, st.check_us);
	put32(out + 40, st.steps);
	put32(out + 44, st.wiped);
	out[48] = atomic_get(&paused);
	out[49] = atomic_get(&step_mode);
	out[50] = atomic_get(&reset_at);
	out[51] = copy < 0 ? 0xFF : copy;
	put32(out + 52, (uint32_t)unused);
	return 56;
}
```

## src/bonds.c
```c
/* DIAG 19 BONDS (read only): the bonds Zephyr holds, with the aging counter that decides which one a new
 * pairing replaces when all CONFIG_BT_MAX_PAIRED are used (docs/fps-link.md §13.1). The counter and the
 * key flags live in the host's internal struct bt_keys (subsys/bluetooth/host/keys.h, NCS 2.5.1); nothing
 * here writes to it. Reply: u8 count, u32 the highest of their counters, then per bond 16 bytes: u8
 * address type, 6 address bytes (LSB first), u16 key types, u8 flags, u8 key size, u32 aging counter,
 * u8 1 when the bond's peer is connected now. */
#include <string.h>
#include <zephyr/kernel.h>
#include <zephyr/sys/util.h>
#include <zephyr/bluetooth/addr.h>
#include <zephyr/bluetooth/conn.h>
#include "keys.h"
#include "g1.h"

#define BOND_LEN 16

struct walk {
	uint8_t *out;
	size_t max;
	uint8_t count;
	uint32_t newest;
};

struct peer {
	const bt_addr_le_t *addr;
	bool found;
};

static void match_conn(struct bt_conn *c, void *data)
{
	struct peer *p = data;

	if (bt_addr_le_eq(bt_conn_get_dst(c), p->addr)) {
		p->found = true;
	}
}

static void one(struct bt_keys *k, void *data)
{
	struct walk *w = data;
	struct peer p = {.addr = &k->addr};
	uint8_t *e = w->out + 5 + BOND_LEN * w->count;

	if (k->id != BT_ID_DEFAULT || 5 + BOND_LEN * (w->count + 1) > w->max) {
		return;
	}
	bt_conn_foreach(BT_CONN_TYPE_LE, match_conn, &p);
	e[0] = k->addr.type;
	memcpy(&e[1], k->addr.a.val, 6);
	put16(&e[7], k->keys);
	e[9] = k->flags;
	e[10] = k->enc_size;
	put32(&e[11], k->aging_counter);
	e[15] = p.found;
	w->newest = MAX(w->newest, k->aging_counter);
	w->count++;
}

size_t bonds_diag(uint8_t *out, size_t max)
{
	struct walk w = {.out = out, .max = max};

	if (max < 5) {
		return 0;
	}
	bt_keys_foreach_type(BT_KEYS_ALL, one, &w);
	out[0] = w.count;
	put32(&out[1], w.newest);
	return 5 + BOND_LEN * w.count;
}
```
